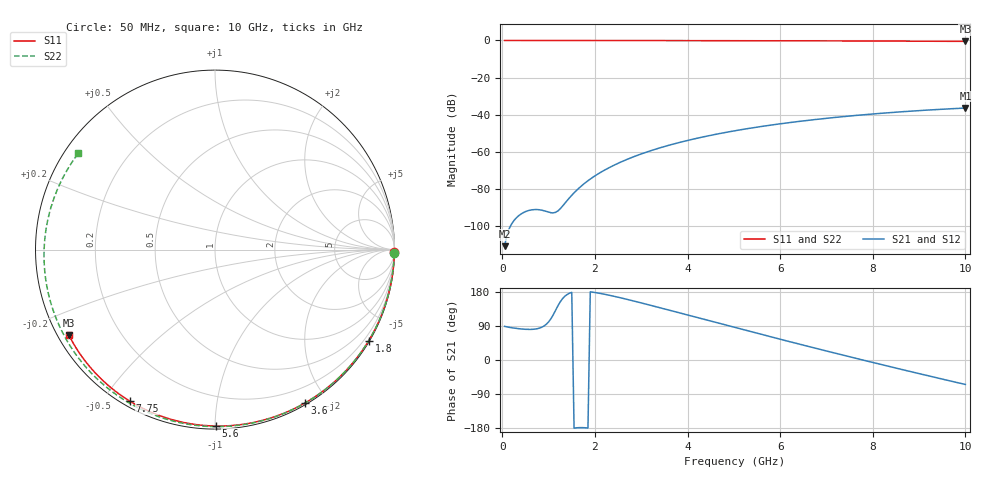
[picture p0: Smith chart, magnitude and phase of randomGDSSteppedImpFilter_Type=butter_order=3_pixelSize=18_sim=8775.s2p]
! freq	dB(S11)	phase(S11)	dB(S12)	phase(S12)
!  dB(S21)	phase(S21)	dB(S22)	phase(S22)
!S-par simulation data
#  GHz  S  DB  R 50
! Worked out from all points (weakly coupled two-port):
!   200 points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, 50 MHz to 10 GHz, reference 50 ohm
!   highest |S21| = -36.34 dB at 10 GHz (marker M1); lowest = -110.6 dB at 50 MHz (marker M2)
!   lowest |S11| = -0.5 dB at 10 GHz (marker M3), VSWR 34.32, Z = 1.56 - j13.6 ohm
!   |S11| at or under -10 dB: nowhere
!   |S22| runs from -0.6 to 0.0 dB; largest |S21 - S12| = 0
!   S11 on the Smith chart (normalised r, x): 50 MHz: open; 1.8 GHz: 0.03, -3.66; 3.6 GHz: 0.02, -1.74; 5.6 GHz: 0.02, -1.01; 7.75 GHz: 0.02, -0.58; 10 GHz: 0.03, -0.27
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0.05  -0.00 -0.8  -110.59 88.7  -110.59 88.7  -0.00 -1.2
0.45  -0.01 -7.7  -92.62 81.4  -92.62 81.4  -0.02 -11.3
0.8  -0.02 -13.7  -91.02 84.0  -91.02 84.0  -0.03 -20.1
1.6  -0.03 -27.3  -80.66 -179.0  -80.66 -179.0  -0.05 -39.8
1.65  -0.04 -28.1  -79.49 -178.5  -79.49 -178.5  -0.05 -41.0
1.75  -0.04 -29.8  -77.34 -178.5  -77.34 -178.5  -0.06 -43.4
1.8  -0.04 -30.6  -76.34 -178.9  -76.34 -178.9  -0.06 -44.6
2.1  -0.05 -35.6  -71.25 176.1  -71.25 176.1  -0.07 -51.7
2.5  -0.05 -42.1  -66.03 165.7  -66.03 165.7  -0.08 -61.0
2.9  -0.06 -48.6  -61.91 153.8  -61.91 153.8  -0.09 -70.1
3.4  -0.08 -56.5  -57.76 138.1  -57.76 138.1  -0.11 -81.2
3.6  -0.08 -59.7  -56.32 131.6  -56.32 131.6  -0.11 -85.6
4.3  -0.10 -70.4  -52.05 109.1  -52.05 109.1  -0.14 -100.4
5.05  -0.13 -81.6  -48.42 84.9  -48.42 84.9  -0.17 -115.6
5.6  -0.15 -89.6  -46.22 67.4  -46.22 67.4  -0.20 -126.5
6.15  -0.17 -97.4  -44.32 50.1  -44.32 50.1  -0.24 -137.3
6.7  -0.21 -105.1  -42.66 33.0  -42.66 33.0  -0.28 -147.9
7.25  -0.24 -112.6  -41.21 16.1  -41.21 16.1  -0.32 -158.6
7.75  -0.28 -119.4  -40.05 1.0  -40.05 1.0  -0.37 -168.3
8.35  -0.33 -127.5  -38.83 -16.9  -38.83 -16.9  -0.43 179.8
9.2  -0.41 -138.8  -37.40 -41.7  -37.40 -41.7  -0.52 162.3
10  -0.51 -149.6  -36.34 -64.6  -36.34 -64.6  -0.62 144.8
